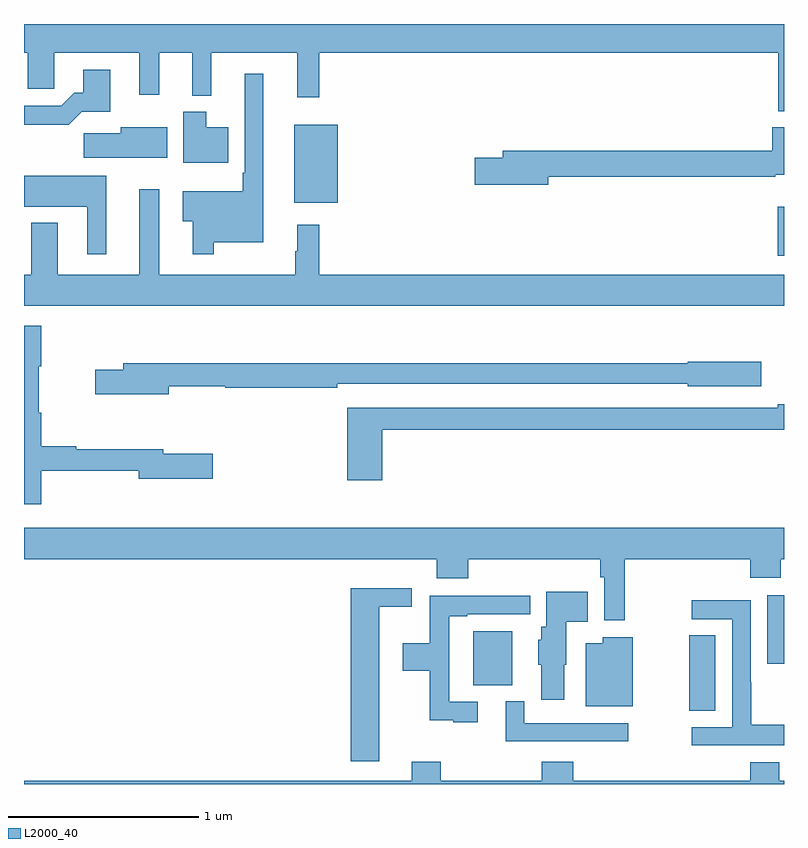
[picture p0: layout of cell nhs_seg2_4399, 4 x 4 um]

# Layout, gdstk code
import gdstk
lib = gdstk.Library(unit=1e-6, precision=1e-09)
def R(c, l, rs):  # rectangles x0, y0, x1, y1
    for r in rs: c.add(gdstk.rectangle(r[:2], r[2:], *l))
def P(c, l, *ps):  # polygons
    for p in ps: c.add(gdstk.Polygon(p, *l))
L2000_40 = (2000, 40)

nhs_seg2_4399 = lib.new_cell('nhs_seg2_4399')
R(nhs_seg2_4399, L2000_40, [(352.501,632.185,352.639,632.582), (351.365,632.321,351.571,632.605), (352.913,632.433,353,632.794), (352.968,634.58,353,634.837), (350.423,634.859,350.65,635.269)])
P(nhs_seg2_4399, L2000_40, [(353,635.8),(349,635.8),(349,635.648),(349.019,635.648),(349.019,635.458),(349.158,635.458),(349.158,635.648),(349.607,635.648),(349.607,635.427),(349.711,635.427),(349.711,635.648),(349.886,635.648),(349.886,635.423),(349.985,635.423),(349.985,635.648),(350.438,635.648),(350.438,635.415),(350.555,635.415),(350.555,635.648),(352.969,635.648),(352.969,635.342),(353,635.342)],
  [(349.304,635.339),(349.453,635.339),(349.453,635.56),(349.313,635.56),(349.313,635.437),(349.264,635.437),(349.197,635.37),(349,635.37),(349,635.27),(349.235,635.27)],
  [(349.999,634.652),(350.26,634.652),(350.26,635.539),(350.163,635.539),(350.163,635.017),(350.151,635.017),(350.151,634.921),(349.836,634.921),(349.836,634.763),(349.889,634.763),(349.889,634.587),(349.999,634.587)],
  [(350.074,635.257),(349.96,635.257),(349.96,635.338),(349.838,635.338),(349.838,635.069),(350.074,635.069)],
  [(349.753,635.257),(349.508,635.257),(349.508,635.225),(349.314,635.225),(349.314,635.096),(349.753,635.096)],
  [(351.76,634.996),(352.953,634.996),(352.953,635.006),(353,635.006),(353,635.257),(352.937,635.257),(352.937,635.132),(351.521,635.132),(351.521,635.096),(351.372,635.096),(351.372,634.954),(351.76,634.954)],
  [(349.432,635.002),(349,635.002),(349,634.838),(349.334,634.838),(349.334,634.587),(349.432,634.587)],
  [(353,634.48),(350.555,634.48),(350.555,634.744),(350.438,634.744),(350.438,634.604),(350.427,634.604),(350.427,634.48),(349.711,634.48),(349.711,634.93),(349.607,634.93),(349.607,634.48),(349.177,634.48),(349.177,634.753),(349.037,634.753),(349.037,634.48),(349,634.48),(349,634.316),(353,634.316)],
  [(349.091,633.45),(349.604,633.45),(349.604,633.407),(349.993,633.407),(349.993,633.537),(349.732,633.537),(349.732,633.563),(349.274,633.563),(349.274,633.578),(349.091,633.578),(349.091,633.755),(349.078,633.755),(349.078,634),(349.091,634),(349.091,634.213),(349,634.213),(349,633.273),(349.091,633.273)],
  [(349.762,633.894),(350.058,633.894),(350.058,633.886),(350.648,633.886),(350.648,633.906),(352.494,633.906),(352.494,633.893),(352.879,633.893),(352.879,634.023),(352.494,634.023),(352.494,634.015),(349.523,634.015),(349.523,633.981),(349.374,633.981),(349.374,633.851),(349.762,633.851)],
  [(350.885,633.664),(353,633.664),(353,633.8),(352.966,633.8),(352.966,633.78),(350.702,633.78),(350.702,633.399),(350.885,633.399)],
  [(352.162,632.984),(352.823,632.984),(352.823,632.885),(352.983,632.885),(352.983,632.984),(353,632.984),(353,633.148),(349,633.148),(349,632.984),(351.173,632.984),(351.173,632.882),(351.338,632.882),(351.338,632.984),(352.033,632.984),(352.033,632.888),(352.053,632.888),(352.053,632.661),(352.162,632.661)],
  [(350.869,632.732),(351.04,632.732),(351.04,632.83),(350.72,632.83),(350.72,631.92),(350.869,631.92)],
  [(351.844,632.427),(351.853,632.427),(351.853,632.654),(351.968,632.654),(351.968,632.812),(351.749,632.812),(351.749,632.628),(351.722,632.628),(351.722,632.559),(351.707,632.559),(351.707,632.427),(351.722,632.427),(351.722,632.244),(351.844,632.244)],
  [(351.388,632.232),(351.237,632.232),(351.237,632.682),(351.334,632.682),(351.334,632.694),(351.664,632.694),(351.664,632.792),(351.421,632.792),(351.421,632.79),(351.136,632.79),(351.136,632.542),(350.994,632.542),(350.994,632.395),(351.136,632.395),(351.136,632.135),(351.26,632.135),(351.26,632.124),(351.388,632.124)],
  [(353,632.113),(352.827,632.113),(352.827,632.336),(352.824,632.336),(352.824,632.766),(352.515,632.766),(352.515,632.667),(352.728,632.667),(352.728,632.1),(352.515,632.1),(352.515,632.004),(353,632.004)],
  [(352.204,632.572),(352.046,632.572),(352.046,632.542),(351.956,632.542),(351.956,632.21),(352.204,632.21)],
  [(352.18,632.121),(351.633,632.121),(351.633,632.236),(351.536,632.236),(351.536,632.025),(352.18,632.025)],
  [(353,631.816),(352.975,631.816),(352.975,631.915),(352.823,631.915),(352.823,631.816),(351.89,631.816),(351.89,631.918),(351.725,631.918),(351.725,631.816),(351.194,631.816),(351.194,631.918),(351.041,631.918),(351.041,631.816),(349,631.816),(349,631.8),(353,631.8)])

lib.write_gds('nhs_seg2_4399.gds')
